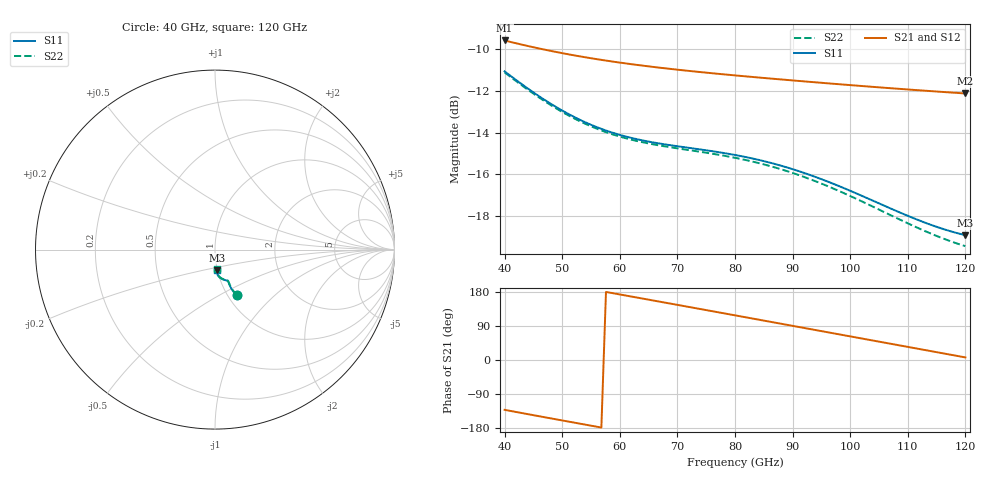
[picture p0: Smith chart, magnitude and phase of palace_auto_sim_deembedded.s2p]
! Created with skrf 1.11.0 (http://scikit-rf.org).
# GHz S DB R 50.0
!freq dBS11 angS11 dBS21 angS21 dBS12 angS12 dBS22 angS22
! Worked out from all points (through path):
!   101 points, 40 GHz to 120 GHz, reference 50 ohm
!   highest |S21| = -9.58 dB at 40 GHz (marker M1); lowest = -12.1 dB at 120 GHz (marker M2)
!   group delay of S21, straight-line fit = 7.69 ps
!   lowest |S11| = -18.9 dB at 120 GHz (marker M3), VSWR 1.26, Z = 49.9 - j11.4 ohm
!   |S11| at or under -10 dB: start of sweep to end of sweep
!   |S22| runs from -19.4 to -11.1 dB; largest |S21 - S12| = 4.5e-14
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40  -11.07 -64.6  -9.58 -131.5  -9.58 -131.5  -11.11 -64.3
43.2  -11.72 -66.0  -9.80 -140.6  -9.80 -140.6  -11.78 -65.7
46.4  -12.33 -67.0  -9.99 -149.5  -9.99 -149.5  -12.39 -66.6
49.6  -12.88 -67.5  -10.17 -158.4  -10.17 -158.4  -12.94 -67.1
53.6  -13.45 -67.6  -10.37 -169.4  -10.37 -169.4  -13.52 -67.2
56.8  -13.82 -67.6  -10.51 -178.2  -10.51 -178.2  -13.89 -67.2
60  -14.11 -67.6  -10.64 173.0  -10.64 173.0  -14.19 -67.1
63.2  -14.33 -67.7  -10.76 164.2  -10.76 164.2  -14.41 -67.3
67.2  -14.53 -68.2  -10.90 153.2  -10.90 153.2  -14.63 -67.8
73.6  -14.79 -70.1  -11.09 135.6  -11.09 135.6  -14.90 -69.8
76.8  -14.92 -71.4  -11.17 126.7  -11.17 126.7  -15.04 -71.2
80  -15.07 -73.0  -11.26 117.9  -11.26 117.9  -15.20 -72.8
84  -15.30 -75.2  -11.36 106.8  -11.36 106.8  -15.45 -75.1
87.2  -15.52 -77.1  -11.43 97.9  -11.43 97.9  -15.69 -77.0
90.4  -15.78 -78.9  -11.51 89.0  -11.51 89.0  -15.97 -78.9
93.6  -16.08 -80.6  -11.58 80.1  -11.58 80.1  -16.29 -80.7
96.8  -16.42 -82.2  -11.65 71.2  -11.65 71.2  -16.64 -82.3
100  -16.78 -83.5  -11.72 62.3  -11.72 62.3  -17.03 -83.8
107.2  -17.65 -85.2  -11.87 42.4  -11.87 42.4  -17.97 -85.8
113.6  -18.37 -85.2  -12.00 24.6  -12.00 24.6  -18.78 -86.0
116.8  -18.67 -84.7  -12.06 15.7  -12.06 15.7  -19.14 -85.5
120  -18.91 -84.0  -12.12 6.8  -12.12 6.8  -19.43 -84.9
